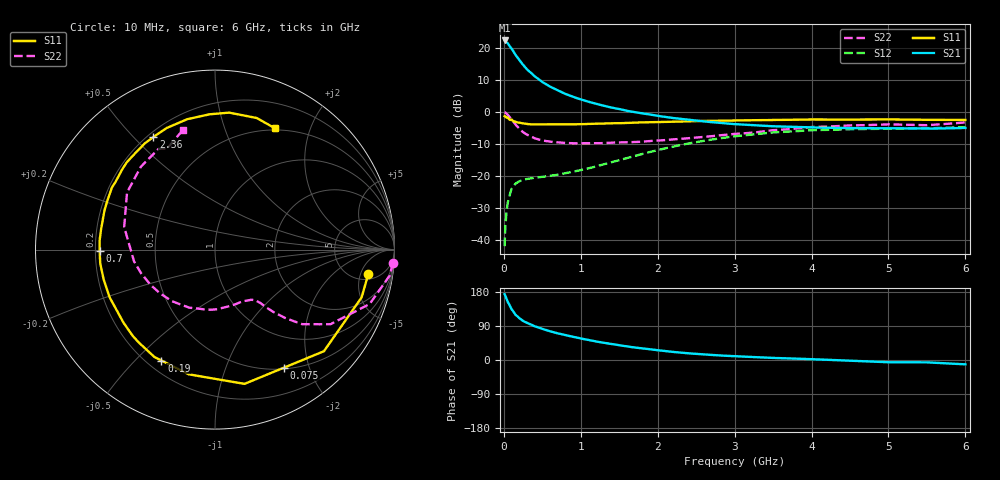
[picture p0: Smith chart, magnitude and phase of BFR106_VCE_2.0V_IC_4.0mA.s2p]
! Infineon Technologies  Discrete & RF Semiconductors
! BFR106
! VCE =  2.0 V,  IC =  4.0 mA
! Common Emitter S-Parameters:  Nov 2015
# GHz  S  MA  R  50
!  f  S11  S21  S12  S22
! GHz  MAG  ANG  MAG  ANG  MAG  ANG  MAG  ANG
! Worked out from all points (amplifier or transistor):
!   210 points, 10 MHz to 6 GHz, reference 50 ohm
!   highest |S21| = 22.5 dB at 10 MHz (marker M1)
!   |S21| within 3 dB of that: start of sweep to 112.7 MHz
!   unconditionally stable (mu >= 1): 657.1 MHz to 2.186 GHz; 4.018 GHz to end of sweep
!   at 185 MHz: K = 0.34, MSG = 19.4 dB, |S12| = -21.9 dB
!   at 1.52 GHz: K = 1.16, MAG = 5.4 dB, |S12| = -14.9 dB
!   at 6 GHz: K = 1.03, MAG = -1.1 dB, |S12| = -4.7 dB
!   S11 on the Smith chart (normalised r, x): 10 MHz: 6.30, -6.83; 75 MHz: 0.52, -1.62; 190 MHz: 0.26, -0.60; 700 MHz: 0.22, -0.00; 2.36 GHz: 0.22, +0.57; 6 GHz: 0.48, +1.50
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0.01  0.8648 -9.1  13.31 173.7  0.0079 87.0  0.9936 -4.3
0.02  0.8593 -18.0  13.08 169.0  0.0159 80.1  0.9845 -8.4
0.05  0.83 -43.0  12.07 153.2  0.0377 67.8  0.9133 -19.4
0.075  0.7619 -59.6  10.88 144.6  0.0496 58.4  0.8344 -25.5
0.1  0.7659 -77.6  9.988 134.1  0.0624 52.8  0.7669 -32.8
0.15  0.7101 -101.9  7.968 119.7  0.0754 42.7  0.6401 -40.5
0.19  0.6864 -115.8  6.85 112.6  0.0808 38.6  0.5684 -43.3
0.2  0.687 -119.4  6.59 110.5  0.0822 37.7  0.5507 -44.1
0.24  0.6696 -129.4  5.711 104.6  0.0855 35.0  0.497 -46.0
0.26  0.664 -133.8  5.338 102.0  0.0869 34.1  0.4759 -46.9
0.3  0.6524 -141.4  4.699 97.7  0.0895 33.3  0.4447 -48.0
0.4  0.6445 -155.6  3.656 89.0  0.0934 32.6  0.3893 -49.7
0.5  0.6422 -165.0  2.971 81.9  0.0962 33.9  0.3592 -51.6
0.7  0.6427 -179.4  2.19 70.3  0.1042 38.8  0.3357 -57.7
1.02  0.6482 164.3  1.555 56.0  0.1246 48.1  0.325 -69.7
1.4  0.6705 149.0  1.178 42.2  0.1636 55.7  0.3325 -87.6
2.02  0.6981 128.6  0.868 25.3  0.2572 56.0  0.3592 -120.5
2.36  0.715 118.7  0.772 18.4  0.3156 52.0  0.3869 -139.3
3.1  0.7434 100.0  0.639 9.0  0.4293 38.6  0.463 -176.7
4.1  0.7659 82.8  0.572 1.4  0.5232 19.2  0.588 143.8
5.1  0.7663 71.4  0.555 -6.0  0.5524 4.2  0.6391 118.5
6  0.7539 63.6  0.565 -11.4  0.582 -6.0  0.6892 105.1
